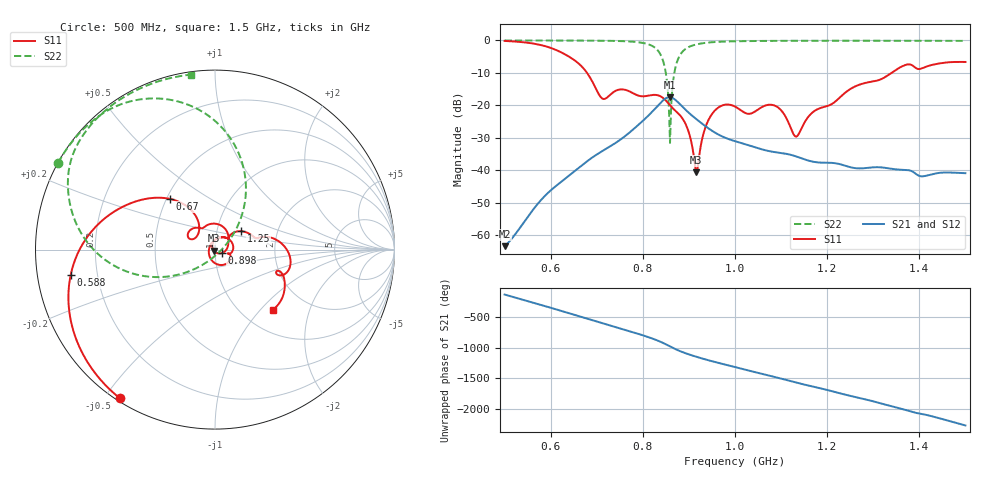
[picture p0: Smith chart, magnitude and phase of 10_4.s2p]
! TOUCHSTONE file generated by CST MICROWAVE STUDIO
! Date and time: Fri Oct  2 16:55:05 2020
! Project name: Scenario_1_Free_Space_out_of_line.cst
! Parameters = {Lambda=346.42; Step_1=17.321; dy1=191.571; dx1=693; L_HA=400; MT=2.54; Rad_Dielectric=30; Rad_Lower=7.3; Rad_Upper=30; a_HA=580; a_WG=246; b_HA=500; b_WG=121; c_HA=0; c_WG=187; d_feed=85; h_feed=15; h_lower=18; h_upper=40}
! Header version: 2018
! Port assignment regex: !\s*Touchstone port\s*([0-9]+)\s*=\s*(CST MWS port|CST DS port)\s*([0-9]+|Zmin|Zmax)\s*\(\"(.*)\"\)(\s*mode\s*([0-9]+))?.*
! Touchstone port assignment:
! Touchstone port 1 = CST MWS port 1 ("")
! Touchstone port 2 = CST MWS port 2 ("")
# GHz S DB R 50
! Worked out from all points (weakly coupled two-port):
!   1003 points, 500 MHz to 1.5 GHz, reference 50 ohm
!   highest |S21| = -17.48 dB at 858 MHz (marker M1); lowest = -63.3 dB at 500 MHz (marker M2)
!   lowest |S11| = -40.7 dB at 916 MHz (marker M3), VSWR 1.02, Z = 49.3 - j0.633 ohm
!   |S11| at or under -10 dB: 678.9 MHz to 1.339 GHz (660.4 MHz wide, 65.4 % of centre)
!   |S22| runs from -31.6 to 0.0 dB; largest |S21 - S12| = 0.00011
!   S11 on the Smith chart (normalised r, x): 500 MHz: 0.01, -0.55; 588 MHz: 0.10, -0.09; 670 MHz: 0.52, +0.34; 898 MHz: 1.08, -0.04; 1.25 GHz: 1.31, +0.28; 1.5 GHz: 1.37, -1.18
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0.5  -0.15 -122.6  -63.35 -124.0  -63.35 -124.0  -0.01 151.1
0.588  -1.76 -170.0  -47.79 46.2  -47.83 46.1  -0.02 145.0
0.667  -7.96 134.2  -38.55 -130.3  -38.54 -130.3  -0.04 138.3
0.67  -8.41 131.8  -38.21 -137.2  -38.20 -137.2  -0.05 138.0
0.713  -17.96 139.6  -33.99 123.7  -33.99 123.7  -0.09 133.2
0.788  -16.88 123.7  -26.29 -44.1  -26.29 -44.1  -0.52 117.8
0.834  -16.95 82.7  -19.86 -165.8  -19.86 -165.8  -3.35 86.6
0.848  -18.23 58.3  -17.99 146.0  -17.99 146.0  -8.60 62.4
0.858  -19.81 42.7  -17.48 107.0  -17.48 107.0  -27.56 6.6
0.862  -20.44 37.4  -17.58 91.3  -17.58 91.3  -18.95 -129.9
0.874  -22.07 20.8  -18.73 47.4  -18.73 47.4  -6.67 -162.8
0.898  -27.56 -28.4  -22.05 -22.2  -22.05 -22.2  -2.14 169.9
0.916  -40.66 -136.2  -24.23 -66.0  -24.23 -66.0  -1.23 160.0
0.948  -23.09 73.2  -27.61 -135.5  -27.61 -135.5  -0.57 149.8
1  -20.36 -7.2  -31.02 124.9  -31.02 124.9  -0.26 140.3
1.088  -20.18 -58.8  -34.43 -42.1  -34.43 -42.1  -0.13 130.8
1.132  -29.61 167.6  -35.68 -128.8  -35.68 -128.8  -0.11 127.0
1.167  -22.32 61.7  -37.27 167.2  -37.27 167.2  -0.09 124.2
1.25  -14.98 35.0  -39.02 11.6  -39.02 11.6  -0.08 117.9
1.334  -10.52 13.8  -39.39 -148.3  -39.39 -148.3  -0.09 111.5
1.373  -7.43 -8.1  -39.89 133.8  -39.89 133.8  -0.09 108.5
1.5  -6.63 -46.3  -40.88 -115.2  -40.90 -115.1  -0.14 97.9
